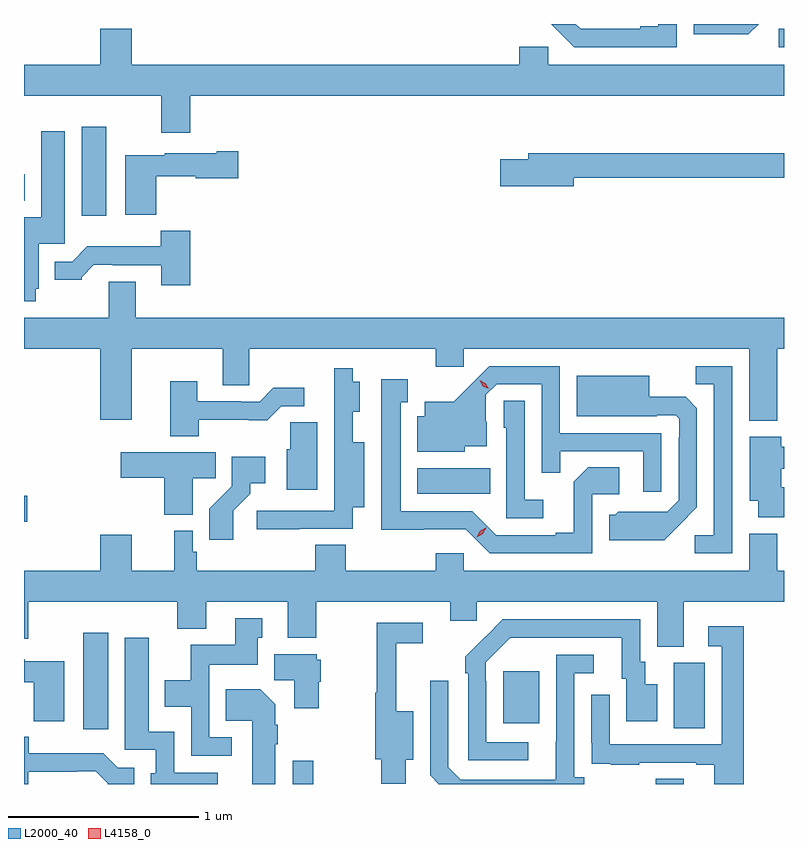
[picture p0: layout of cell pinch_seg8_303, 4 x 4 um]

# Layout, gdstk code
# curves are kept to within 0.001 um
import gdstk
lib = gdstk.Library(unit=1e-6, precision=1e-09)
def R(c, l, rs):  # rectangles x0, y0, x1, y1
    for r in rs: c.add(gdstk.rectangle(r[:2], r[2:], *l))
def P(c, l, *ps):  # polygons
    for p in ps: c.add(gdstk.Polygon(p, *l))
L2000_40 = (2000, 40)
L4158_0 = (4158, 0)

pinch_seg8_303 = lib.new_cell('pinch_seg8_303')
R(pinch_seg8_303, L2000_40, [(513.672,1151.506,513.781,1151.629), (515.584,1151.506,515.731,1151.534), (512.57,1151.793,512.701,1152.301), (515.678,1151.8,515.842,1152.144), (514.781,1151.825,514.969,1152.1), (512.258,1152.887,512.275,1153.022), (514.328,1153.034,514.712,1153.168), (512.561,1154.496,512.692,1154.965), (512.258,1154.576,512.263,1154.716), (516.231,1155.384,516.258,1155.48)])
P(pinch_seg8_303, L2000_40, [(516.124,1155.506),(515.783,1155.506),(515.783,1155.452),(516.071,1155.452)],
  [(515.694,1155.506),(515.595,1155.506),(515.595,1155.493),(515.501,1155.493),(515.501,1155.48),(515.187,1155.48),(515.161,1155.506),(515.032,1155.506),(515.154,1155.384),(515.694,1155.384)],
  [(513.134,1155.128),(516.258,1155.128),(516.258,1155.292),(515.016,1155.292),(515.016,1155.385),(514.865,1155.385),(514.865,1155.292),(512.824,1155.292),(512.824,1155.481),(512.66,1155.481),(512.66,1155.292),(512.258,1155.292),(512.258,1155.128),(512.981,1155.128),(512.981,1154.934),(513.134,1154.934)],
  [(512.319,1154.112),(512.335,1154.112),(512.335,1154.349),(512.473,1154.349),(512.473,1154.941),(512.348,1154.941),(512.348,1154.488),(512.258,1154.488),(512.258,1154.046),(512.319,1154.046)],
  [(512.954,1154.705),(513.162,1154.705),(513.162,1154.693),(513.385,1154.693),(513.385,1154.835),(513.272,1154.835),(513.272,1154.827),(513,1154.827),(513,1154.815),(512.792,1154.815),(512.792,1154.501),(512.954,1154.501)],
  [(515.152,1154.698),(516.258,1154.698),(516.258,1154.827),(514.913,1154.827),(514.913,1154.793),(514.764,1154.793),(514.764,1154.651),(515.152,1154.651)],
  [(513.134,1154.419),(512.979,1154.419),(512.979,1154.335),(512.59,1154.335),(512.511,1154.256),(512.42,1154.256),(512.42,1154.159),(512.562,1154.159),(512.562,1154.174),(512.626,1154.238),(512.725,1154.238),(512.725,1154.235),(512.981,1154.235),(512.981,1154.13),(513.134,1154.13)],
  [(516.222,1153.796),(516.258,1153.796),(516.258,1153.96),(512.845,1153.96),(512.845,1154.15),(512.705,1154.15),(512.705,1153.96),(512.258,1153.96),(512.258,1153.796),(512.66,1153.796),(512.66,1153.422),(512.824,1153.422),(512.824,1153.796),(513.305,1153.796),(513.305,1153.606),(513.444,1153.606),(513.444,1153.796),(514.426,1153.796),(514.426,1153.701),(514.572,1153.701),(514.572,1153.796),(516.074,1153.796),(516.074,1153.418),(516.222,1153.418)],
  [(515.613,1153.353),(515.079,1153.353),(515.079,1153.704),(514.706,1153.704),(514.519,1153.519),(514.367,1153.519),(514.367,1153.441),(514.328,1153.441),(514.328,1153.256),(514.578,1153.256),(514.578,1153.283),(514.693,1153.283),(514.693,1153.412),(514.689,1153.412),(514.689,1153.554),(514.746,1153.611),(514.983,1153.611),(514.983,1153.144),(515.081,1153.144),(515.081,1153.257),(515.517,1153.257),(515.517,1153.044),(515.613,1153.044)],
  [(515.985,1153.704),(515.794,1153.704),(515.794,1153.609),(515.889,1153.609),(515.889,1152.816),(515.787,1152.816),(515.787,1152.72),(515.985,1152.72)],
  [(513.707,1152.849),(513.988,1152.849),(513.988,1152.962),(514.048,1152.962),(514.048,1153.306),(513.988,1153.306),(513.988,1153.466),(514.024,1153.466),(514.024,1153.624),(513.988,1153.624),(513.988,1153.693),(513.89,1153.693),(513.89,1153.47),(513.891,1153.47),(513.891,1153.202),(513.89,1153.202),(513.89,1152.945),(513.483,1152.945),(513.483,1152.847),(513.707,1152.847)],
  [(515.707,1152.869),(515.799,1152.962),(515.799,1153.484),(515.74,1153.543),(515.548,1153.543),(515.548,1153.654),(515.168,1153.654),(515.168,1153.442),(515.588,1153.442),(515.588,1153.446),(515.688,1153.446),(515.706,1153.428),(515.706,1153.328),(515.703,1153.328),(515.703,1152.999),(515.643,1152.939),(515.386,1152.94),(515.37,1152.924),(515.339,1152.924),(515.339,1152.788),(515.627,1152.788)],
  [(515.25,1153.032),(515.392,1153.032),(515.392,1153.172),(515.227,1153.172),(515.151,1153.096),(515.151,1152.829),(515.057,1152.829),(515.057,1152.816),(514.743,1152.816),(514.617,1152.942),(514.24,1152.942),(514.24,1153.515),(514.279,1153.515),(514.279,1153.636),(514.139,1153.636),(514.139,1152.845),(514.584,1152.846),(514.71,1152.72),(515.25,1152.72)],
  [(513.177,1153.422),(513.539,1153.421),(513.612,1153.494),(513.733,1153.494),(513.733,1153.591),(513.571,1153.591),(513.498,1153.518),(513.398,1153.518),(513.398,1153.521),(513.169,1153.521),(513.169,1153.627),(513.029,1153.627),(513.029,1153.337),(513.177,1153.337)],
  [(514.99,1153.003),(514.893,1153.003),(514.893,1153.523),(514.782,1153.523),(514.782,1153.38),(514.797,1153.38),(514.797,1152.906),(514.99,1152.906)],
  [(513.802,1153.409),(513.66,1153.409),(513.66,1153.269),(513.641,1153.269),(513.641,1153.056),(513.802,1153.056)],
  [(516.258,1153.069),(516.244,1153.069),(516.244,1153.164),(516.258,1153.164),(516.258,1153.28),(516.244,1153.28),(516.244,1153.333),(516.077,1153.333),(516.077,1152.998),(516.122,1152.998),(516.122,1152.911),(516.258,1152.911)],
  [(513.145,1153.114),(513.266,1153.114),(513.266,1153.252),(512.766,1153.252),(512.766,1153.118),(512.996,1153.118),(512.996,1152.923),(513.145,1152.923)],
  [(513.358,1152.943),(513.448,1153.033),(513.448,1153.088),(513.529,1153.088),(513.529,1153.228),(513.351,1153.228),(513.351,1153.073),(513.232,1152.954),(513.232,1152.792),(513.358,1152.792)],
  [(515.731,1152.464),(516.258,1152.464),(516.258,1152.628),(516.222,1152.628),(516.222,1152.823),(516.074,1152.823),(516.074,1152.628),(514.572,1152.628),(514.572,1152.721),(514.426,1152.721),(514.426,1152.628),(513.951,1152.628),(513.951,1152.764),(513.791,1152.764),(513.791,1152.628),(513.167,1152.628),(513.167,1152.729),(513.147,1152.729),(513.147,1152.838),(513.049,1152.838),(513.049,1152.628),(512.824,1152.628),(512.824,1152.817),(512.66,1152.817),(512.66,1152.628),(512.258,1152.628),(512.258,1152.27),(512.281,1152.27),(512.281,1152.464),(513.065,1152.464),(513.065,1152.323),(513.217,1152.323),(513.217,1152.464),(513.647,1152.464),(513.647,1152.275),(513.795,1152.275),(513.795,1152.464),(514.502,1152.464),(514.502,1152.366),(514.641,1152.366),(514.641,1152.464),(515.591,1152.464),(515.591,1152.229),(515.731,1152.229)],
  [(513.352,1151.751),(513.234,1151.751),(513.234,1152.134),(513.487,1152.134),(513.487,1152.276),(513.511,1152.276),(513.511,1152.379),(513.371,1152.379),(513.371,1152.238),(513.136,1152.238),(513.136,1152.052),(512.999,1152.052),(512.999,1151.912),(513.138,1151.912),(513.138,1151.655),(513.352,1151.655)],
  [(514.912,1151.727),(514.692,1151.727),(514.692,1152.047),(514.689,1152.047),(514.689,1152.147),(514.818,1152.276),(515.405,1152.276),(515.405,1152.06),(515.429,1152.06),(515.429,1151.835),(515.59,1151.835),(515.59,1152.031),(515.527,1152.031),(515.527,1152.15),(515.502,1152.15),(515.502,1152.372),(514.778,1152.372),(514.581,1152.177),(514.581,1152.089),(514.596,1152.089),(514.596,1151.631),(514.912,1151.631)],
  [(514.267,1151.633),(514.306,1151.633),(514.306,1151.89),(514.217,1151.89),(514.217,1152.246),(514.357,1152.246),(514.357,1152.354),(514.114,1152.354),(514.114,1151.986),(514.107,1151.986),(514.107,1151.637),(514.138,1151.637),(514.138,1151.507),(514.267,1151.507)],
  [(516.047,1152.337),(515.859,1152.337),(515.859,1152.231),(515.931,1152.231),(515.931,1151.715),(515.34,1151.715),(515.34,1151.977),(515.244,1151.977),(515.244,1151.722),(515.245,1151.722),(515.245,1151.613),(515.347,1151.613),(515.347,1151.607),(515.495,1151.607),(515.495,1151.619),(515.795,1151.619),(515.795,1151.607),(515.891,1151.607),(515.891,1151.506),(516.047,1151.506)],
  [(513.277,1151.566),(513.048,1151.566),(513.048,1151.782),(512.914,1151.782),(512.914,1152.277),(512.789,1152.277),(512.789,1151.685),(512.952,1151.685),(512.952,1151.562),(512.924,1151.562),(512.924,1151.506),(513.277,1151.506)],
  [(513.81,1152.045),(513.82,1152.045),(513.82,1152.159),(513.798,1152.159),(513.798,1152.19),(513.575,1152.19),(513.575,1152.052),(513.68,1152.052),(513.68,1151.904),(513.81,1151.904)],
  [(515.206,1151.542),(515.154,1151.542),(515.154,1152.09),(515.257,1152.09),(515.257,1152.186),(515.058,1152.186),(515.057,1151.529),(514.557,1151.529),(514.491,1151.595),(514.491,1152.049),(514.395,1152.049),(514.395,1151.553),(514.442,1151.506),(515.206,1151.506)],
  [(512.47,1152.151),(512.262,1152.151),(512.262,1152.163),(512.258,1152.163),(512.258,1152.041),(512.308,1152.041),(512.308,1151.837),(512.47,1151.837)],
  [(513.58,1151.716),(513.593,1151.716),(513.593,1151.819),(513.58,1151.819),(513.58,1151.926),(513.502,1152.004),(513.319,1152.004),(513.319,1151.84),(513.458,1151.84),(513.458,1151.506),(513.58,1151.506)],
  [(512.281,1151.571),(512.537,1151.571),(512.537,1151.574),(512.636,1151.574),(512.7,1151.51),(512.7,1151.506),(512.839,1151.506),(512.839,1151.592),(512.751,1151.592),(512.675,1151.668),(512.284,1151.668),(512.284,1151.755),(512.258,1151.755),(512.258,1151.506),(512.281,1151.506)])
P(pinch_seg8_303, L4158_0, [(514.704,1153.585),(514.673,1153.6),(514.656,1153.63),(514.656,1153.63),(514.656,1153.63),(514.686,1153.615),(514.704,1153.586),(514.704,1153.585)],
  [(514.64,1152.805),(514.64,1152.805),(514.657,1152.837),(514.689,1152.856),(514.69,1152.856),(514.69,1152.856),(514.672,1152.823),(514.64,1152.805)])

lib.write_gds('pinch_seg8_303.gds')
